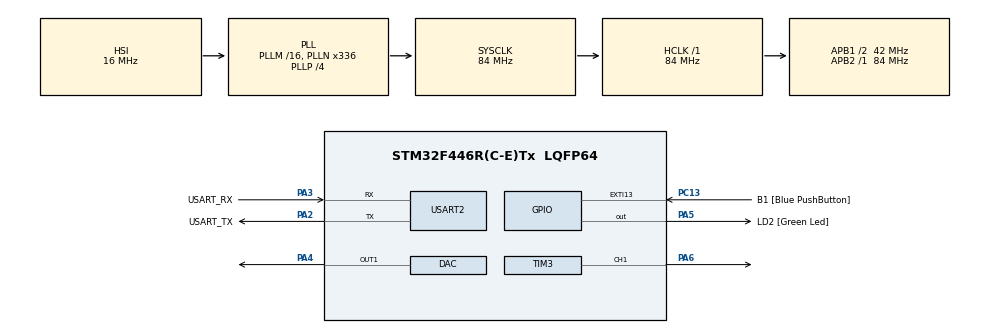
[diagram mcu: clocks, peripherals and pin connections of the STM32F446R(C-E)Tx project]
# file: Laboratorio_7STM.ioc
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DAC.DAC_Trigger=DAC_TRIGGER_T6_TRGO
Dma.DAC1.0.Direction=DMA_MEMORY_TO_PERIPH
Dma.DAC1.0.FIFOMode=DMA_FIFOMODE_DISABLE
Dma.DAC1.0.Instance=DMA1_Stream5
Dma.DAC1.0.MemDataAlignment=DMA_MDATAALIGN_HALFWORD
Dma.DAC1.0.MemInc=DMA_MINC_ENABLE
Dma.DAC1.0.Mode=DMA_CIRCULAR
Dma.DAC1.0.PeriphDataAlignment=DMA_PDATAALIGN_HALFWORD
Dma.DAC1.0.PeriphInc=DMA_PINC_DISABLE
Dma.DAC1.0.Priority=DMA_PRIORITY_LOW
Dma.Request0=DAC1
Mcu.Family=STM32F4
Mcu.Name=STM32F446R(C-E)Tx
Mcu.Package=LQFP64
NVIC.DMA1_Stream5_IRQn=true\:0\:0\:false\:false\:true\:false\:true\:true
NVIC.PriorityGroup=NVIC_PRIORITYGROUP_0
PA13.GPIO_Label=TMS
PA13.Signal=SYS_JTMS-SWDIO
PA14.GPIO_Label=TCK
PA14.Signal=SYS_JTCK-SWCLK
PA2.GPIO_Label=USART_TX
PA2.Mode=Asynchronous
PA2.Signal=USART2_TX
PA3.GPIO_Label=USART_RX
PA3.Mode=Asynchronous
PA3.Signal=USART2_RX
PA4.Signal=COMP_DAC1_group
PA5.GPIO_Label=LD2 [Green Led]
PA5.Signal=GPIO_Output
PA6.Signal=S_TIM3_CH1
PB3.GPIO_Label=SWO
PB3.Signal=SYS_JTDO-SWO
PC13.GPIO_Label=B1 [Blue PushButton]
PC13.GPIO_ModeDefaultEXTI=GPIO_MODE_IT_FALLING
PC13.Signal=GPXTI13
PC14-OSC32_IN.Signal=RCC_OSC32_IN
PC15-OSC32_OUT.Signal=RCC_OSC32_OUT
PH0-OSC_IN.Signal=RCC_OSC_IN
PH1-OSC_OUT.Signal=RCC_OSC_OUT
ProjectManager.HeapSize=0x200
ProjectManager.StackSize=0x400
ProjectManager.TargetToolchain=STM32CubeIDE
RCC.AHBFreq_Value=84000000
RCC.APB1CLKDivider=RCC_HCLK_DIV2
RCC.APB1Freq_Value=42000000
RCC.APB1TimFreq_Value=84000000
RCC.APB2Freq_Value=84000000
RCC.APB2TimFreq_Value=84000000
RCC.CortexFreq_Value=84000000
RCC.FLatency-AdvancedSettings=FLASH_LATENCY_2
RCC.HCLKFreq_Value=84000000
RCC.HSE_VALUE=8000000
RCC.HSI_VALUE=16000000
RCC.LSE_VALUE=32768
RCC.PLLN=336
RCC.PLLP=RCC_PLLP_DIV4
RCC.SYSCLKFreq_VALUE=84000000
RCC.SYSCLKSource=RCC_SYSCLKSOURCE_PLLCLK
RCC.USBFreq_Value=168000000
RCC.VCOOutputFreq_Value=336000000
SH.COMP_DAC1_group.0=DAC_OUT1,DAC_OUT1
SH.S_TIM3_CH1.0=TIM3_CH1,PWM Generation1 CH1
TIM3.Channel-PWM\ Generation1\ CH1=TIM_CHANNEL_1
TIM3.Prescaler=83
TIM3.Pulse-PWM\ Generation1\ CH1=500
TIM6.Period=1000-1
TIM6.Prescaler=0
TIM6.TIM_MasterOutputTrigger=TIM_TRGO_UPDATE
USART2.VirtualMode=VM_ASYNC
VP_TIM3_VS_ClockSourceINT.Mode=Internal
VP_TIM6_VS_ClockSourceINT.Mode=Enable_Timer
board=NUCLEO-F446RE

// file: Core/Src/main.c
/* USER CODE BEGIN Header */
/**
  ******************************************************************************
  * @file           : main.c
  * @brief          : Main program body
  ******************************************************************************
  * @attention
  *
  * Copyright (c) 2026 STMicroelectronics.
  * All rights reserved.
  *
  * This software is licensed under terms that can be found in the LICENSE file
  * in the root directory of this software component.
  * If no LICENSE file comes with this software, it is provided AS-IS.
  *
  ******************************************************************************
  */
/* USER CODE END Header */
#include "main.h"

/* USER CODE BEGIN Includes */
#include <string.h>

/* USER CODE END Includes */

/* USER CODE BEGIN PD */
#define TIM6_INPUT_CLOCK_HZ  84000000ULL
#define TIM3_COUNTER_CLOCK_HZ 1000000ULL
#define SINE_LUT_SIZE        128U
#define NOTE_GAP_MS          60U
#define PWM_NOTE_GAP_MS      30U
#define TIM6_ARR_MIN         1U
#define TIM6_ARR_MAX         65535U
#define TIM3_ARR_MIN         1U
#define TIM3_ARR_MAX         65535U

/* USER CODE END PD */

/* USER CODE BEGIN PM */
#define ARRAY_LENGTH(array)  (sizeof(array) / sizeof((array)[0]))

/* USER CODE END PM */

DAC_HandleTypeDef hdac;
DMA_HandleTypeDef hdma_dac1;

TIM_HandleTypeDef htim3;
TIM_HandleTypeDef htim6;

UART_HandleTypeDef huart2;

/* USER CODE BEGIN PV */
/* Onda senoidal de 12 bits y 128 muestras. */
static const uint16_t sine_lut[128] =
{
  2048, 2148, 2248, 2348, 2447, 2545, 2642, 2737,
  2831, 2923, 3013, 3100, 3185, 3267, 3346, 3423,
  3495, 3565, 3630, 3692, 3750, 3804, 3853, 3898,
  3939, 3975, 4007, 4034, 4056, 4073, 4085, 4093,
  4095, 4093, 4085, 4073, 4056, 4034, 4007, 3975,
  3939, 3898, 3853, 3804, 3750, 3692, 3630, 3565,
  3495, 3423, 3346, 3267, 3185, 3100, 3013, 2923,
  2831, 2737, 2642, 2545, 2447, 2348, 2248, 2148,
  2048, 1947, 1847, 1747, 1648, 1550, 1453, 1358,
  1264, 1172, 1082,  995,  910,  828,  749,  672,
   600,  530,  465,  403,  345,  291,  242,  197,
   156,  120,   88,   61,   39,   22,   10,    2,
     0,    2,   10,   22,   39,   61,   88,  120,
   156,  197,  242,  291,  345,  403,  465,  530,
   600,  672,  749,  828,  910,  995, 1082, 1172,
  1264, 1358, 1453, 1550, 1648, 1747, 1847, 1947
};

/* Zelda's Lullaby simplificada, frecuencias en Hz. */
static const uint16_t zelda_notes_hz[] =
{
  494, 587, 440, 392, 440, 494, 587, 440,
  494, 587, 880, 784, 587, 523, 494, 440
};

/* Duraciones de las notas en milisegundos. */
static const uint16_t zelda_durations_ms[] =
{
  450, 450, 750, 450, 450, 750, 450, 750,
  450, 450, 750, 450, 450, 450, 450, 900
};

/* Tema de Mario simplificado, frecuencias en Hz. */
static const uint16_t mario_notes_hz[] =
{
  659, 659, 659, 523, 659, 784, 392, 523,
  392, 330, 440, 494, 466, 440, 392, 659,
  784, 880, 698, 784, 659, 523, 587, 494
};

/* Duraciones de Mario en milisegundos. */
static const uint16_t mario_durations_ms[] =
{
  180, 180, 360, 180, 180, 360, 360, 360,
  360, 360, 300, 300, 180, 300, 240, 240,
  240, 300, 180, 180, 180, 180, 180, 300
};

/* Tema de Tetris simplificado para PWM, frecuencias en Hz. */
static const uint16_t tetris_notes_hz[] =
{
  659, 494, 523, 587, 523, 494, 440, 440,
  523, 659, 587, 523, 494, 494, 523, 587,
  659, 523, 440, 440, 587, 698, 880, 784,
  698, 659, 523, 659, 587, 523, 494, 494,
  523, 587, 659, 523, 440, 440
};

static const uint16_t tetris_durations_ms[] =
{
  300, 150, 150, 300, 150, 150, 300, 150,
  150, 300, 150, 150, 300, 150, 150, 300,
  300, 300, 300, 450, 300, 150, 300, 150,
  150, 300, 150, 300, 150, 150, 300, 150,
  150, 300, 300, 300, 300, 450
};

/* Melodia breve de estilo himno para PWM. */
static const uint16_t charly_notes_hz[] =
{
  523, 659, 784, 784, 880, 784, 659, 523,
  698, 880, 784, 659, 587, 659, 523, 523
};

static const uint16_t charly_durations_ms[] =
{
  300, 300, 450, 300, 300, 300, 300, 500,
  300, 300, 450, 300, 300, 300, 300, 700
};

_Static_assert(ARRAY_LENGTH(zelda_notes_hz) ==
               ARRAY_LENGTH(zelda_durations_ms),
               "Los arreglos de Zelda deben tener el mismo tamano");
_Static_assert(ARRAY_LENGTH(mario_notes_hz) ==
               ARRAY_LENGTH(mario_durations_ms),
               "Los arreglos de Mario deben tener el mismo tamano");
_Static_assert(ARRAY_LENGTH(tetris_notes_hz) ==
               ARRAY_LENGTH(tetris_durations_ms),
               "Los arreglos de Tetris deben tener el mismo tamano");
_Static_assert(ARRAY_LENGTH(charly_notes_hz) ==
               ARRAY_LENGTH(charly_durations_ms),
               "Los arreglos de Charly deben tener el mismo tamano");

static uint8_t uart_command;

/* USER CODE END PV */

void SystemClock_Config(void);
static void MX_GPIO_Init(void);
static void MX_DMA_Init(void);
static void MX_DAC_Init(void);
static void MX_TIM6_Init(void);
static void MX_USART2_UART_Init(void);
static void MX_TIM3_Init(void);
/* USER CODE BEGIN PFP */
static void uart_send(const char *text);
static void show_menu(void);
static uint32_t calculate_tim6_arr(uint16_t frequency_hz);
static void start_note(uint16_t frequency_hz);
static void stop_note(void);
static void play_zelda(void);
static void play_mario(void);
static uint32_t calculate_tim3_arr(uint16_t frequency_hz);
static void start_pwm_note(uint16_t frequency_hz);
static void stop_pwm_note(void);
static void play_tetris_pwm(void);
static void play_charly_pwm(void);

/* USER CODE END PFP */

/* Private user code ---------------------s------------------------------------*/
/* USER CODE BEGIN 0 */
/* Envia una cadena completa por USART2. */
static void uart_send(const char *text)
{
  if (HAL_UART_Transmit(&huart2, (uint8_t *)text,
                        (uint16_t)strlen(text), HAL_MAX_DELAY) != HAL_OK)
  {
    Error_Handler();
  }
}

/* Muestra las opciones disponibles. */
static void show_menu(void)
{
  uart_send("\r\n1. Zelda - Ocarina of Time\r\n"
            "2. Mario Bros Theme\r\n"
            "3. Tetris [PWM]\r\n"
            "4. We Are Charly Kirk [PWM]\r\n"
            "M. Mostrar nuevamente el menu\r\n"
            "\r\n"
            "Ingrese 1, 2, 3 o 4 y presione Enter: ");
}

/* Calcula ARR con redondeo y limita el resultado a 16 bits. */
static uint32_t calculate_tim6_arr(uint16_t frequency_hz)
{
  uint64_t denominator;
  uint64_t timer_counts;
  uint64_t arr;

  if (frequency_hz == 0U)
  {
    return TIM6_ARR_MAX;
  }

  denominator = (uint64_t)SINE_LUT_SIZE * (uint64_t)frequency_hz;
  timer_counts = (TIM6_INPUT_CLOCK_HZ + (denominator / 2ULL)) /
                 denominator;

  if (timer_counts <= ((uint64_t)TIM6_ARR_MIN + 1ULL))
  {
    return TIM6_ARR_MIN;
  }

  arr = timer_counts - 1ULL;
  if (arr > TIM6_ARR_MAX)
  {
    arr = TIM6_ARR_MAX;
  }

  return (uint32_t)arr;
}

static void start_note(uint16_t frequency_hz)
{
  uint32_t arr = calculate_tim6_arr(frequency_hz);

  if (HAL_TIM_Base_Stop(&htim6) != HAL_OK)
  {
    Error_Handler();
  }

  __HAL_TIM_SET_AUTORELOAD(&htim6, arr);
  __HAL_TIM_SET_COUNTER(&htim6, 0U);
  __HAL_TIM_CLEAR_FLAG(&htim6, TIM_FLAG_UPDATE);

  if (HAL_TIM_Base_Start(&htim6) != HAL_OK)
  {
    Error_Handler();
  }
}

static void stop_note(void)
{
  if (HAL_TIM_Base_Stop(&htim6) != HAL_OK)
  {
    Error_Handler();
  }
}

static void play_zelda(void)
{
  size_t note_index;

  uart_send("\r\nReproduciendo Zelda - Ocarina of Time...\r\n");

  for (note_index = 0U; note_index < ARRAY_LENGTH(zelda_notes_hz);
       note_index++)
  {
    start_note(zelda_notes_hz[note_index]);
    HAL_Delay(zelda_durations_ms[note_index]);
    stop_note();

    if ((note_index + 1U) < ARRAY_LENGTH(zelda_notes_hz))
    {
      HAL_Delay(NOTE_GAP_MS);
    }
  }

  uart_send("\r\nReproduccion finalizada.\r\n");
}

static void play_mario(void)
{
  size_t note_index;

  uart_send("\r\nReproduciendo Mario Bros Theme...\r\n");

  for (note_index = 0U; note_index < ARRAY_LENGTH(mario_notes_hz);
       note_index++)
  {
    start_note(mario_notes_hz[note_index]);
    HAL_Delay(mario_durations_ms[note_index]);
    stop_note();

    if ((note_index + 1U) < ARRAY_LENGTH(mario_notes_hz))
    {
      HAL_Delay(NOTE_GAP_MS);
    }
  }

  uart_send("\r\nReproduccion finalizada.\r\n");
}

/* Calcula ARR para TIM3 con un contador de 1 MHz. */
static uint32_t calculate_tim3_arr(uint16_t frequency_hz)
{
  uint64_t timer_counts;
  uint64_t arr;

  if (frequency_hz == 0U)
  {
    return TIM3_ARR_MAX;
  }

  timer_counts = (TIM3_COUNTER_CLOCK_HZ +
                  ((uint64_t)frequency_hz / 2ULL)) /
                 (uint64_t)frequency_hz;

  if (timer_counts <= ((uint64_t)TIM3_ARR_MIN + 1ULL))
  {
    return TIM3_ARR_MIN;
  }

  arr = timer_counts - 1ULL;
  if (arr > TIM3_ARR_MAX)
  {
    arr = TIM3_ARR_MAX;
  }

  return (uint32_t)arr;
}

/* Configura TIM3 CH1 con ciclo de trabajo del 50 por ciento. */
static void start_pwm_note(uint16_t frequency_hz)
{
  uint32_t arr = calculate_tim3_arr(frequency_hz);
  uint32_t pulse = (arr + 1U) / 2U;

  if (HAL_TIM_PWM_Stop(&htim3, TIM_CHANNEL_1) != HAL_OK)
  {
    Error_Handler();
  }

  __HAL_TIM_SET_AUTORELOAD(&htim3, arr);
  __HAL_TIM_SET_COMPARE(&htim3, TIM_CHANNEL_1, pulse);
  __HAL_TIM_SET_COUNTER(&htim3, 0U);
  if (HAL_TIM_GenerateEvent(&htim3, TIM_EVENTSOURCE_UPDATE) != HAL_OK)
  {
    Error_Handler();
  }
  __HAL_TIM_CLEAR_FLAG(&htim3, TIM_FLAG_UPDATE);

  if (HAL_TIM_PWM_Start(&htim3, TIM_CHANNEL_1) != HAL_OK)
  {
    Error_Handler();
  }
}

/* Detiene la salida PWM de PA6. */
static void stop_pwm_note(void)
{
  if (HAL_TIM_PWM_Stop(&htim3, TIM_CHANNEL_1) != HAL_OK)
  {
    Error_Handler();
  }
}

/* Reproduce el tema de Tetris por PWM. */
static void play_tetris_pwm(void)
{
  size_t note_index;

  uart_send("\r\nReproduciendo Tetris por PWM...\r\n");

  for (note_index = 0U; note_index < ARRAY_LENGTH(tetris_notes_hz);
       note_index++)
  {
    start_pwm_note(tetris_notes_hz[note_index]);
    HAL_Delay(tetris_durations_ms[note_index]);
    stop_pwm_note();

    if ((note_index + 1U) < ARRAY_LENGTH(tetris_notes_hz))
    {
      HAL_Delay(PWM_NOTE_GAP_MS);
    }
  }

  uart_send("\r\nReproduccion finalizada.\r\n");
}

/* Reproduce We Are Charly Kirk por PWM. */
static void play_charly_pwm(void)
{
  size_t note_index;

  uart_send("\r\nReproduciendo We Are Charly Kirk por PWM...\r\n");

  for (note_index = 0U; note_index < ARRAY_LENGTH(charly_notes_hz);
       note_index++)
  {
    start_pwm_note(charly_notes_hz[note_index]);
    HAL_Delay(charly_durations_ms[note_index]);
    stop_pwm_note();

    if ((note_index + 1U) < ARRAY_LENGTH(charly_notes_hz))
    {
      HAL_Delay(PWM_NOTE_GAP_MS);
    }
  }

  uart_send("\r\nReproduccion finalizada.\r\n");
}

/* USER CODE END 0 */

int main(void)
{

  /* MCU Configuration--------------------------------------------------------*/

  /* Reset of all peripherals, Initializes the Flash interface and the Systick. */
  HAL_Init();

  /* Configure the system clock */
  SystemClock_Config();

  /* Initialize all configured peripherals */
  MX_GPIO_Init();
  MX_DMA_Init();
  MX_DAC_Init();
  MX_TIM6_Init();
  MX_USART2_UART_Init();
  MX_TIM3_Init();
  /* USER CODE BEGIN 2 */

  if (HAL_DAC_Start_DMA(&hdac,
                        DAC_CHANNEL_1,
                        (uint32_t *)sine_lut,
                        128,
                        DAC_ALIGN_12B_R) != HAL_OK)
  {
    Error_Handler();
  }

  show_menu();

  /* USER CODE END 2 */

  /* Infinite loop */
  while (1)
  {

    /* USER CODE BEGIN 3 */
    if (HAL_UART_Receive(&huart2, &uart_command, 1U,
                         HAL_MAX_DELAY) != HAL_OK)
    {
      Error_Handler();
    }

    if ((uart_command == '\r') || (uart_command == '\n'))
    {
      continue;
    }

    switch (uart_command)
    {
      case '1':
        play_zelda();
        show_menu();
        break;

      case '2':
        play_mario();
        show_menu();
        break;

      case '3':
        play_tetris_pwm();
        show_menu();
        break;

      case '4':
        play_charly_pwm();
        show_menu();
        break;

      case 'M':
      case 'm':
        show_menu();
        break;

      default:
        uart_send("\r\nComando inv\xC3\xA1lido.\r\n");
        show_menu();
        break;
    }
  }
  /* USER CODE END 3 */
}

void SystemClock_Config(void)
{
  RCC_OscInitTypeDef RCC_OscInitStruct = {0};
  RCC_ClkInitTypeDef RCC_ClkInitStruct = {0};

  /** Configure the main internal regulator output voltage
  */
  __HAL_RCC_PWR_CLK_ENABLE();
  __HAL_PWR_VOLTAGESCALING_CONFIG(PWR_REGULATOR_VOLTAGE_SCALE3);

  /** Initializes the RCC Oscillators according to the specified parameters
  * in the RCC_OscInitTypeDef structure.
  */
  RCC_OscInitStruct.OscillatorType = RCC_OSCILLATORTYPE_HSI;
  RCC_OscInitStruct.HSIState = RCC_HSI_ON;
  RCC_OscInitStruct.HSICalibrationValue = RCC_HSICALIBRATION_DEFAULT;
  RCC_OscInitStruct.PLL.PLLState = RCC_PLL_ON;
  RCC_OscInitStruct.PLL.PLLSource = RCC_PLLSOURCE_HSI;
  RCC_OscInitStruct.PLL.PLLM = 16;
  RCC_OscInitStruct.PLL.PLLN = 336;
  RCC_OscInitStruct.PLL.PLLP = RCC_PLLP_DIV4;
  RCC_OscInitStruct.PLL.PLLQ = 2;
  RCC_OscInitStruct.PLL.PLLR = 2;
  if (HAL_RCC_OscConfig(&RCC_OscInitStruct) != HAL_OK)
  {
    Error_Handler();
  }

  /** Initializes the CPU, AHB and APB buses clocks
  */
  RCC_ClkInitStruct.ClockType = RCC_CLOCKTYPE_HCLK|RCC_CLOCKTYPE_SYSCLK
                              |RCC_CLOCKTYPE_PCLK1|RCC_CLOCKTYPE_PCLK2;
  RCC_ClkInitStruct.SYSCLKSource = RCC_SYSCLKSOURCE_PLLCLK;
  RCC_ClkInitStruct.AHBCLKDivider = RCC_SYSCLK_DIV1;
  RCC_ClkInitStruct.APB1CLKDivider = RCC_HCLK_DIV2;
  RCC_ClkInitStruct.APB2CLKDivider = RCC_HCLK_DIV1;

  if (HAL_RCC_ClockConfig(&RCC_ClkInitStruct, FLASH_LATENCY_2) != HAL_OK)
  {
    Error_Handler();
  }
}

static void MX_DAC_Init(void)
{

  DAC_ChannelConfTypeDef sConfig = {0};

  /** DAC Initialization
  */
  hdac.Instance = DAC;
  if (HAL_DAC_Init(&hdac) != HAL_OK)
  {
    Error_Handler();
  }

  /** DAC channel OUT1 config
  */
  sConfig.DAC_Trigger = DAC_TRIGGER_T6_TRGO;
  sConfig.DAC_OutputBuffer = DAC_OUTPUTBUFFER_ENABLE;
  if (HAL_DAC_ConfigChannel(&hdac, &sConfig, DAC_CHANNEL_1) != HAL_OK)
  {
    Error_Handler();
  }

}

static void MX_TIM3_Init(void)
{

  TIM_ClockConfigTypeDef sClockSourceConfig = {0};
  TIM_MasterConfigTypeDef sMasterConfig = {0};
  TIM_OC_InitTypeDef sConfigOC = {0};

  htim3.Instance = TIM3;
  htim3.Init.Prescaler = 83;
  htim3.Init.CounterMode = TIM_COUNTERMODE_UP;
  htim3.Init.Period = 65535;
  htim3.Init.ClockDivision = TIM_CLOCKDIVISION_DIV1;
  htim3.Init.AutoReloadPreload = TIM_AUTORELOAD_PRELOAD_DISABLE;
  if (HAL_TIM_Base_Init(&htim3) != HAL_OK)
  {
    Error_Handler();
  }
  sClockSourceConfig.ClockSource = TIM_CLOCKSOURCE_INTERNAL;
  if (HAL_TIM_ConfigClockSource(&htim3, &sClockSourceConfig) != HAL_OK)
  {
    Error_Handler();
  }
  if (HAL_TIM_PWM_Init(&htim3) != HAL_OK)
  {
    Error_Handler();
  }
  sMasterConfig.MasterOutputTrigger = TIM_TRGO_RESET;
  sMasterConfig.MasterSlaveMode = TIM_MASTERSLAVEMODE_DISABLE;
  if (HAL_TIMEx_MasterConfigSynchronization(&htim3, &sMasterConfig) != HAL_OK)
  {
    Error_Handler();
  }
  sConfigOC.OCMode = TIM_OCMODE_PWM1;
  sConfigOC.Pulse = 500;
  sConfigOC.OCPolarity = TIM_OCPOLARITY_HIGH;
  sConfigOC.OCFastMode = TIM_OCFAST_DISABLE;
  if (HAL_TIM_PWM_ConfigChannel(&htim3, &sConfigOC, TIM_CHANNEL_1) != HAL_OK)
  {
    Error_Handler();
  }
  HAL_TIM_MspPostInit(&htim3);

}

static void MX_TIM6_Init(void)
{

  TIM_MasterConfigTypeDef sMasterConfig = {0};

  htim6.Instance = TIM6;
  htim6.Init.Prescaler = 0;
  htim6.Init.CounterMode = TIM_COUNTERMODE_UP;
  htim6.Init.Period = 1000-1;
  htim6.Init.AutoReloadPreload = TIM_AUTORELOAD_PRELOAD_DISABLE;
  if (HAL_TIM_Base_Init(&htim6) != HAL_OK)
  {
    Error_Handler();
  }
  sMasterConfig.MasterOutputTrigger = TIM_TRGO_UPDATE;
  sMasterConfig.MasterSlaveMode = TIM_MASTERSLAVEMODE_DISABLE;
  if (HAL_TIMEx_MasterConfigSynchronization(&htim6, &sMasterConfig) != HAL_OK)
  {
    Error_Handler();
  }

}

static void MX_USART2_UART_Init(void)
{

  huart2.Instance = USART2;
  huart2.Init.BaudRate = 115200;
  huart2.Init.WordLength = UART_WORDLENGTH_8B;
  huart2.Init.StopBits = UART_STOPBITS_1;
  huart2.Init.Parity = UART_PARITY_NONE;
  huart2.Init.Mode = UART_MODE_TX_RX;
  huart2.Init.HwFlowCtl = UART_HWCONTROL_NONE;
  huart2.Init.OverSampling = UART_OVERSAMPLING_16;
  if (HAL_UART_Init(&huart2) != HAL_OK)
  {
    Error_Handler();
  }

}

static void MX_DMA_Init(void)
{

  /* DMA controller clock enable */
  __HAL_RCC_DMA1_CLK_ENABLE();

  /* DMA interrupt init */
  /* DMA1_Stream5_IRQn interrupt configuration */
  HAL_NVIC_SetPriority(DMA1_Stream5_IRQn, 0, 0);
  HAL_NVIC_EnableIRQ(DMA1_Stream5_IRQn);

}

static void MX_GPIO_Init(void)
{
  GPIO_InitTypeDef GPIO_InitStruct = {0};

  /* GPIO Ports Clock Enable */
  __HAL_RCC_GPIOC_CLK_ENABLE();
  __HAL_RCC_GPIOH_CLK_ENABLE();
  __HAL_RCC_GPIOA_CLK_ENABLE();
  __HAL_RCC_GPIOB_CLK_ENABLE();

  /*Configure GPIO pin Output Level */
  HAL_GPIO_WritePin(LD2_GPIO_Port, LD2_Pin, GPIO_PIN_RESET);

  /*Configure GPIO pin : B1_Pin */
  GPIO_InitStruct.Pin = B1_Pin;
  GPIO_InitStruct.Mode = GPIO_MODE_IT_FALLING;
  GPIO_InitStruct.Pull = GPIO_NOPULL;
  HAL_GPIO_Init(B1_GPIO_Port, &GPIO_InitStruct);

  /*Configure GPIO pin : LD2_Pin */
  GPIO_InitStruct.Pin = LD2_Pin;
  GPIO_InitStruct.Mode = GPIO_MODE_OUTPUT_PP;
  GPIO_InitStruct.Pull = GPIO_NOPULL;
  GPIO_InitStruct.Speed = GPIO_SPEED_FREQ_LOW;
  HAL_GPIO_Init(LD2_GPIO_Port, &GPIO_InitStruct);

}

void Error_Handler(void)
{
  __disable_irq();
  while (1)
  {
  }
}
